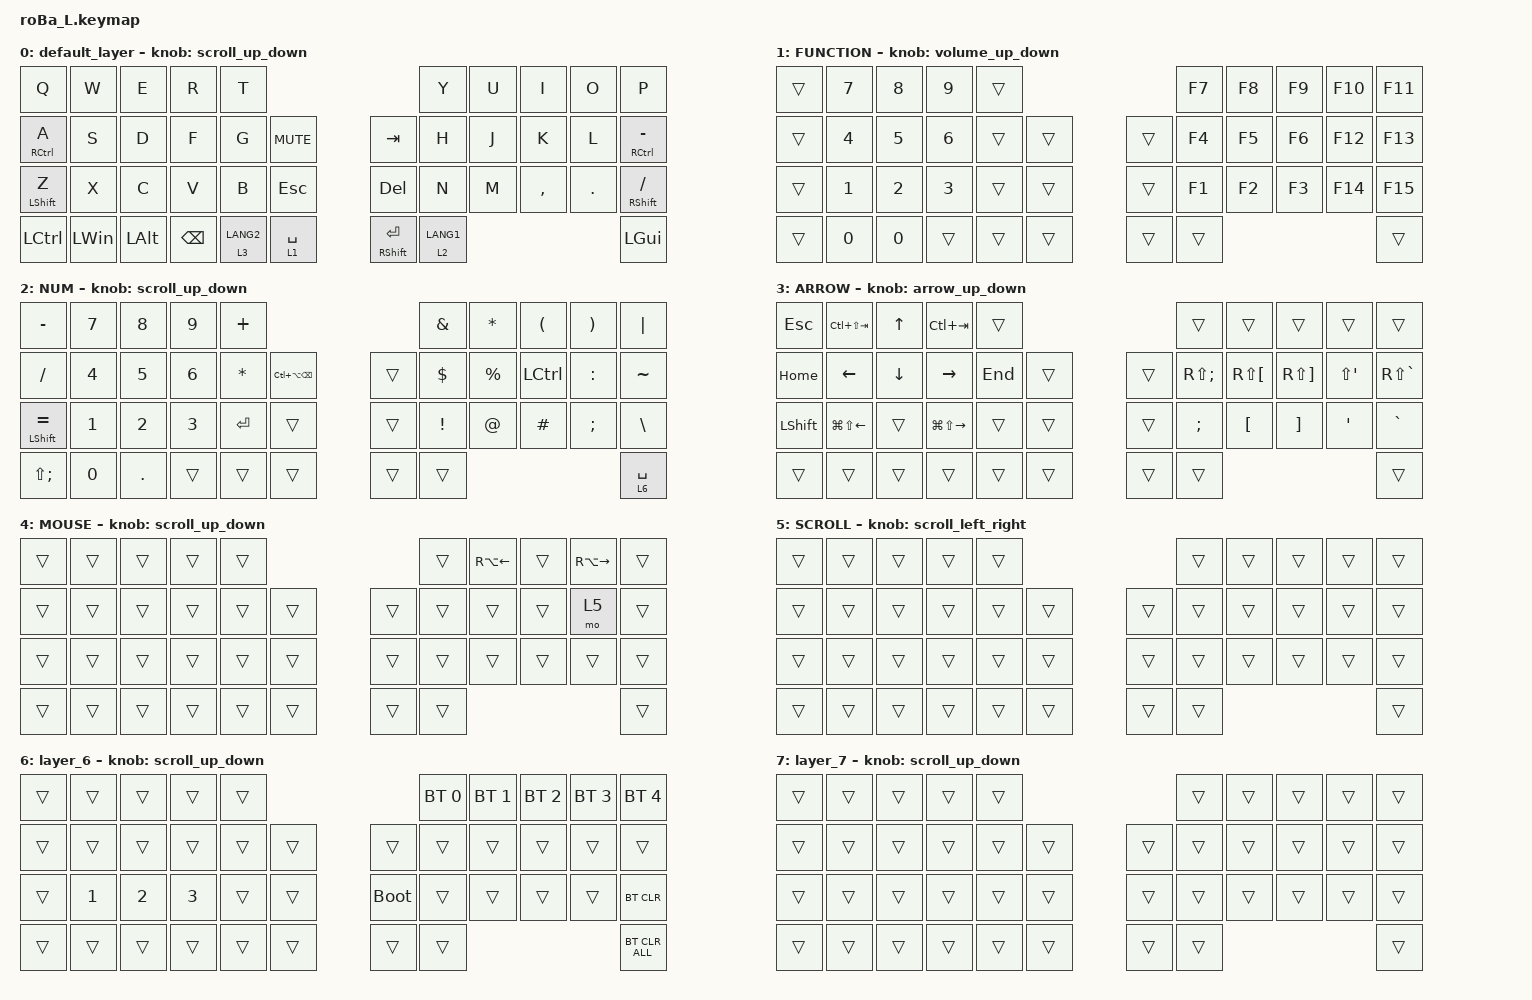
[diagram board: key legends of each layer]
#include <behaviors.dtsi>
#include <dt-bindings/zmk/bt.h>
#include <dt-bindings/zmk/keys.h>

#define MOUSE 4
#define SCROLL 5
#define NUM 6

&mt {
    flavor = "balanced";
    quick-tap-ms = <0>;
};

/ {
    combos {
        compatible = "zmk,combos";

        tab {
            bindings = <&kp TAB>;
            key-positions = <11 12>;
        };

        shift_tab {
            bindings = <&kp LS(TAB)>;
            key-positions = <12 13>;
        };

        muhennkann {
            bindings = <&to_layer_0 INT_MUHENKAN>;
            key-positions = <11 10>;
        };

        double_quotation {
            bindings = <&kp DOUBLE_QUOTES>;
            key-positions = <20 21>;
        };

        eq {
            bindings = <&kp EQUAL>;
            key-positions = <24 25>;
        };
    };

    macros {
        to_layer_0: to_layer_0 {
            compatible = "zmk,behavior-macro-one-param";
            #binding-cells = <1>;
            bindings = <&to 0 &macro_param_1to1 &kp MACRO_PLACEHOLDER>;
            label = "TO_LAYER_0";
        };
    };

    behaviors {
        lt_to_layer_0: lt_to_layer_0 {
            compatible = "zmk,behavior-hold-tap";
            label = "LAYER_TAP_TO_0";
            bindings = <&mo>, <&to_layer_0>;
            #binding-cells = <2>;
            tapping-term-ms = <200>;
        };

        // 音量調整用（ファンクション層用）
        volume_up_down: behavior_sensor_rotate_volume {
            compatible = "zmk,behavior-sensor-rotate";
            #sensor-binding-cells = <0>;
            bindings = <&kp C_VOL_DN>, <&kp C_VOL_UP>;
            tap-ms = <30>;
        };

        // 矢印キー用（アロー層用）
        arrow_up_down: behavior_sensor_rotate_arrow {
            compatible = "zmk,behavior-sensor-rotate";
            #sensor-binding-cells = <0>;
            bindings = <&kp UP_ARROW>, <&kp DOWN_ARROW>;
            tap-ms = <50>;
        };

        arrow_left_right: behavior_sensor_rotate_arrow_lr{
            compatible = "zmk,behavior-sensor-rotate";
            #sensor-binding-cells = <0>;
            bindings = <&kp LEFT_ARROW>, <&kp RIGHT_ARROW>;
            tap-ms = <50>;
        };

        // デフォルト層用のスクロール（上下スクロール）
        scroll_up_down: behavior_sensor_rotate_scroll_up_down {
            compatible = "zmk,behavior-sensor-rotate";
            #sensor-binding-cells = <0>;
            bindings = <&kp UP_ARROW>, <&kp DOWN_ARROW>;
            tap-ms = <20>;
        };

        // 水平スクロール用（スクロール層用）
        scroll_left_right: behavior_sensor_rotate_horizontal {
            compatible = "zmk,behavior-sensor-rotate";
            #sensor-binding-cells = <0>;
            bindings = <&kp LEFT_ARROW>, <&kp RIGHT_ARROW>;
            tap-ms = <20>;
        };
    };

    keymap {
        compatible = "zmk,keymap";

        default_layer {
            bindings = <
&kp Q             &kp W         &kp E         &kp R          &kp T                                                           &kp Y        &kp U  &kp I      &kp O    &kp P
&mt RCTRL A       &kp S         &kp D         &kp F          &kp G        &kp K_MUTE                  &kp TAB                &kp H        &kp J  &kp K      &kp L    &mt RCTRL MINUS
&mt LEFT_SHIFT Z  &kp X         &kp C         &kp V          &kp B        &kp ESCAPE                  &kp DEL                &kp N        &kp M  &kp COMMA  &kp DOT  &mt RIGHT_SHIFT SLASH
&kp LCTRL         &kp LEFT_WIN  &kp LEFT_ALT  &kp BACKSPACE  &lt 3 LANG2  &lt_to_layer_0 1 SPACE      &mt RIGHT_SHIFT ENTER  &lt 2 LANG1                             &kp LEFT_GUI
            >;

            sensor-bindings = <&scroll_up_down>;
        };

        FUNCTION {
            bindings = <
&trans  &kp N7        &kp N8        &kp N9        &trans                      &kp F7  &kp F8  &kp F9  &kp F10  &kp F11
&trans  &kp NUMBER_4  &kp N5        &kp NUMBER_6  &trans  &trans      &trans  &kp F4  &kp F5  &kp F6  &kp F12  &kp F13
&trans  &kp NUMBER_1  &kp NUMBER_2  &kp NUMBER_3  &trans  &trans      &trans  &kp F1  &kp F2  &kp F3  &kp F14  &kp F15
&trans  &kp N0        &kp N0        &trans        &trans  &trans      &trans  &trans                           &trans
            >;

            sensor-bindings = <&volume_up_down>;
        };

        NUM {
            bindings = <
&kp MINUS             &kp N7        &kp N8        &kp N9        &kp PLUS                                         &kp AMPERSAND    &kp ASTERISK  &kp LEFT_PARENTHESIS  &kp RIGHT_PARENTHESIS  &kp PIPE
&kp SLASH             &kp NUMBER_4  &kp NUMBER_5  &kp NUMBER_6  &kp ASTERISK  &kp LC(LA(BACKSPACE))      &trans  &kp DOLLAR       &kp PERCENT   &kp LCTRL             &kp COLON              &kp TILDE
&mt LEFT_SHIFT EQUAL  &kp NUMBER_1  &kp NUMBER_2  &kp NUMBER_3  &kp ENTER     &trans                     &trans  &kp EXCLAMATION  &kp AT_SIGN   &kp HASH              &kp SEMICOLON          &kp BACKSLASH
&kp LS(SEMICOLON)     &kp N0        &kp PERIOD    &trans        &trans        &trans                     &trans  &trans                                                                      &lt 6 SPACE
            >;

            sensor-bindings = <&scroll_up_down>;
        };

        ARROW {
            bindings = <
&kp ESCAPE      &kp LC(LS(TAB))         &kp UP_ARROW    &kp LC(TAB)              &trans                       &trans             &trans                &trans                 &trans       &trans
&kp HOME        &kp LEFT_ARROW          &kp DOWN_ARROW  &kp RIGHT_ARROW          &kp END  &trans      &trans  &kp RS(SEMICOLON)  &kp RS(LEFT_BRACKET)  &kp RS(RIGHT_BRACKET)  &kp LS(SQT)  &kp RS(GRAVE)
&kp LEFT_SHIFT  &kp LG(LS(LEFT_ARROW))  &trans          &kp LG(LS(RIGHT_ARROW))  &trans   &trans      &trans  &kp SEMICOLON      &kp LEFT_BRACKET      &kp RIGHT_BRACKET      &kp SQT      &kp GRAVE
&trans          &trans                  &trans          &trans                   &trans   &trans      &trans  &trans                                                                       &trans
            >;

            sensor-bindings = <&arrow_up_down>;
        };

        MOUSE {
            bindings = <
&trans  &trans  &trans  &trans  &trans                      &trans  &kp RA(LEFT_ARROW)  &trans  &kp RA(RIGHT_ARROW)  &trans
&trans  &trans  &trans  &trans  &trans  &trans      &trans  &trans  &trans              &trans  &mo 5                &trans
&trans  &trans  &trans  &trans  &trans  &trans      &trans  &trans  &trans              &trans  &trans               &trans
&trans  &trans  &trans  &trans  &trans  &trans      &trans  &trans                                                   &trans
            >;

            sensor-bindings = <&scroll_up_down>;
        };

        SCROLL {
            bindings = <
&trans  &trans  &trans  &trans  &trans                      &trans  &trans  &trans  &trans  &trans
&trans  &trans  &trans  &trans  &trans  &trans      &trans  &trans  &trans  &trans  &trans  &trans
&trans  &trans  &trans  &trans  &trans  &trans      &trans  &trans  &trans  &trans  &trans  &trans
&trans  &trans  &trans  &trans  &trans  &trans      &trans  &trans                          &trans
            >;

            sensor-bindings = <&scroll_left_right>;
        };

        layer_6 {
            bindings = <
&trans  &trans        &trans        &trans        &trans                           &bt BT_SEL 0  &bt BT_SEL 1  &bt BT_SEL 2  &bt BT_SEL 3  &bt BT_SEL 4
&trans  &trans        &trans        &trans        &trans  &trans      &trans       &trans        &trans        &trans        &trans        &trans
&trans  &kp NUMBER_1  &kp NUMBER_2  &kp NUMBER_3  &trans  &trans      &bootloader  &trans        &trans        &trans        &trans        &bt BT_CLR
&trans  &trans        &trans        &trans        &trans  &trans      &trans       &trans                                                  &bt BT_CLR_ALL
            >;

            sensor-bindings = <&scroll_up_down>;
        };

        layer_7 {
            bindings = <
&trans  &trans  &trans  &trans  &trans                      &trans  &trans  &trans  &trans  &trans
&trans  &trans  &trans  &trans  &trans  &trans      &trans  &trans  &trans  &trans  &trans  &trans
&trans  &trans  &trans  &trans  &trans  &trans      &trans  &trans  &trans  &trans  &trans  &trans
&trans  &trans  &trans  &trans  &trans  &trans      &trans  &trans                          &trans
            >;

            sensor-bindings = <&scroll_up_down>;
        };
    };
};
